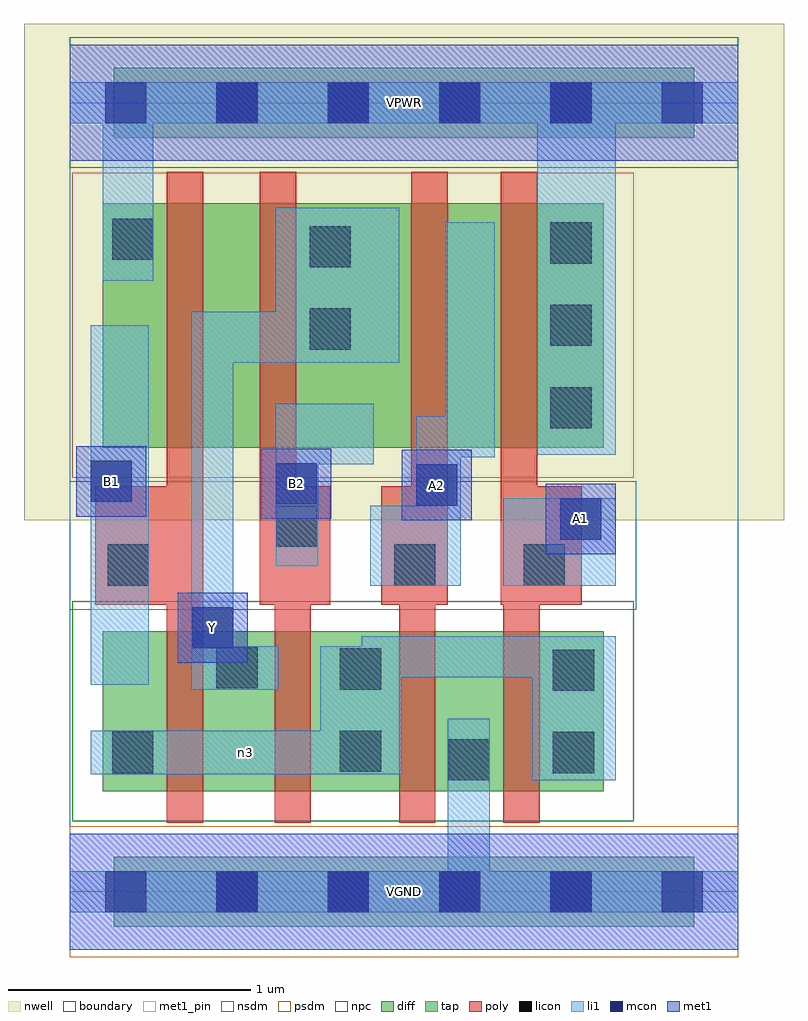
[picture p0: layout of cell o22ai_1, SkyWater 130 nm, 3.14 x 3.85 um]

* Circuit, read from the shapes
.subckt o22ai_1 A1 A2 B1 B2 VGND VPWR Y n3
XM1 Y B1 n3 VGND sky130_fd_pr__nfet_01v8 w=0.66 l=0.15
XM2 n3 B2 Y VGND sky130_fd_pr__nfet_01v8 w=0.66 l=0.15
XM3 VGND A2 n3 VGND sky130_fd_pr__nfet_01v8 w=0.66 l=0.15
XM4 n3 A1 VGND VGND sky130_fd_pr__nfet_01v8 w=0.66 l=0.15
XM5 n1 B1 VPWR VPWR sky130_fd_pr__pfet_01v8 w=1.01 l=0.15
XM6 Y B2 n1 VPWR sky130_fd_pr__pfet_01v8 w=1.01 l=0.15
XM7 n2 A2 Y VPWR sky130_fd_pr__pfet_01v8 w=1.01 l=0.15
XM8 VPWR A1 n2 VPWR sky130_fd_pr__pfet_01v8 w=1.01 l=0.15
.ends

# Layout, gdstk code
import gdstk
lib = gdstk.Library(unit=1e-6, precision=1e-09)
def R(c, l, rs):  # rectangles x0, y0, x1, y1
    for r in rs: c.add(gdstk.rectangle(r[:2], r[2:], *l))
def A(c, l, x, y, w, h, nx, ny, dx, dy):  # array of equal rectangles
    R(c, l, [(x+i*dx, y+j*dy, x+i*dx+w, y+j*dy+h) for i in range(nx) for j in range(ny)])
nwell = (64, 20)
diff = (65, 20)
tap = (65, 44)
poly = (66, 20)
licon = (66, 44)
li1 = (67, 20)
mcon = (67, 44)
met1_pin = (68, 16)
met1 = (68, 20)
nsdm = (93, 44)
psdm = (94, 20)
npc = (95, 20)
boundary = (235, 4)

o22ai_1 = lib.new_cell('o22ai_1')
R(o22ai_1, nwell, [(-0.19,1.535,2.95,3.585), (0,1.535,2.76,3.585)])
R(o22ai_1, diff, [(0.135,0.415,2.205,1.075), (0.135,1.835,2.205,2.845)])
R(o22ai_1, tap, [(0.18,-0.145,2.58,0.145), (0.18,3.115,2.58,3.405)])
R(o22ai_1, poly, [(0.4,0.285,0.55,2.975), (0.845,0.285,0.995,1.675), (1.36,0.285,1.51,1.675), (1.79,0.285,1.94,1.675), (0.105,1.185,0.55,1.675), (0.785,1.185,0.935,2.975), (0.785,1.185,1.075,1.675), (1.285,1.185,1.56,1.675), (1.41,1.185,1.56,2.975), (1.78,1.185,1.93,2.975), (1.78,1.185,2.115,1.675)])
A(o22ai_1, licon, 0.605, -0.085, 0.17, 0.17, 4, 2, 0.46, 3.26)
A(o22ai_1, licon, 1.985, 1.915, 0.17, 0.17, 1, 3, 0, 0.34)
R(o22ai_1, licon, [(1.565,0.46,1.735,0.63), (0.175,0.49,0.345,0.66), (1.995,0.49,2.165,0.66), (1.115,0.495,1.285,0.665), (1.995,0.83,2.165,1), (1.115,0.835,1.285,1.005), (0.605,0.84,0.775,1.01), (0.155,1.265,0.325,1.435), (1.34,1.265,1.51,1.435), (1.875,1.265,2.045,1.435), (0.85,1.425,1.02,1.595), (0.99,2.24,1.16,2.41), (0.99,2.58,1.16,2.75), (0.175,2.61,0.345,2.78)])
R(o22ai_1, li1, [(0,-0.085,2.76,0.085), (1.56,-0.085,1.735,0.715), (1.91,0.46,2.255,1.055), (0.085,0.485,1.37,0.665), (1.035,0.485,1.37,1.015), (0.5,0.835,0.675,2.395), (0.5,0.835,0.86,1.015), (0.085,0.855,0.325,2.34), (1.205,0.885,2.255,1.055), (1.24,1.265,1.615,1.595), (1.43,1.265,1.615,1.965), (1.79,1.265,2.255,1.625), (0.85,1.345,1.025,2.015), (0.85,1.765,1.255,2.015), (1.55,1.795,1.755,2.765), (1.93,1.805,2.255,3.345), (0.5,2.185,1.36,2.395), (0.85,2.185,1.36,2.825), (0.135,2.525,0.345,3.345), (0,3.175,2.76,3.345)])
A(o22ai_1, mcon, 0.145, -0.085, 0.17, 0.17, 6, 2, 0.46, 3.26)
R(o22ai_1, mcon, [(0.505,1.005,0.675,1.175), (2.025,1.455,2.195,1.625), (1.43,1.595,1.6,1.765), (0.85,1.6,1.02,1.77), (0.085,1.61,0.255,1.78)])
R(o22ai_1, met1_pin, [(0,-0.24,2.76,0.24), (0.445,0.945,0.735,1.235), (1.965,1.395,2.255,1.685), (1.37,1.535,1.66,1.825), (0.79,1.54,1.08,1.83), (0.025,1.55,0.315,1.84), (0,3.02,2.76,3.5)])
R(o22ai_1, met1, [(0,-0.24,2.76,0.24), (0.445,0.945,0.735,1.235), (1.965,1.395,2.255,1.685), (1.37,1.535,1.66,1.825), (0.79,1.54,1.08,1.83), (0.025,1.55,0.315,1.84), (0,3.02,2.76,3.5)])
R(o22ai_1, nsdm, [(0.01,0.29,2.33,1.2), (0,2.99,2.76,3.53)])
R(o22ai_1, psdm, [(0,-0.27,2.76,0.27), (0.01,1.71,2.33,2.97)])
R(o22ai_1, npc, [(0,1.165,2.34,1.695)])
R(o22ai_1, boundary, [(0,0,2.76,3.26)])
o22ai_1.add(gdstk.Label('n3', (0.727,0.575), layer=67, texttype=5))
o22ai_1.add(gdstk.Label('A1', (2.11,1.54), layer=68, texttype=5))
o22ai_1.add(gdstk.Label('A2', (1.515,1.68), layer=68, texttype=5))
o22ai_1.add(gdstk.Label('B1', (0.17,1.695), layer=68, texttype=5))
o22ai_1.add(gdstk.Label('B2', (0.935,1.685), layer=68, texttype=5))
o22ai_1.add(gdstk.Label('Y', (0.59,1.09), layer=68, texttype=5))
o22ai_1.add(gdstk.Label('VPWR', (1.38,3.26), layer=68, texttype=5))
o22ai_1.add(gdstk.Label('VGND', (1.38,0), layer=68, texttype=5))
o22ai_1.add(gdstk.Label('A1', (2.11,1.54), layer=68, texttype=16))
o22ai_1.add(gdstk.Label('A2', (1.515,1.68), layer=68, texttype=16))
o22ai_1.add(gdstk.Label('B1', (0.17,1.695), layer=68, texttype=16))
o22ai_1.add(gdstk.Label('B2', (0.935,1.685), layer=68, texttype=16))
o22ai_1.add(gdstk.Label('Y', (0.59,1.09), layer=68, texttype=16))
o22ai_1.add(gdstk.Label('VPWR', (1.38,3.26), layer=68, texttype=16))
o22ai_1.add(gdstk.Label('VGND', (1.38,0), layer=68, texttype=16))

lib.write_gds('o22ai_1.gds')
